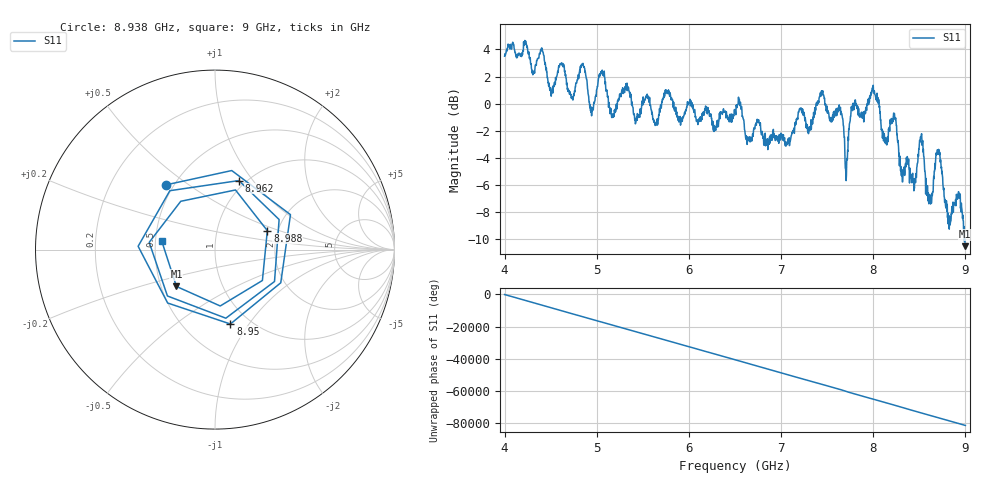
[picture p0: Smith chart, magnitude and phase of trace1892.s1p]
! Created with skrf 1.8.0 (http://scikit-rf.org).
# Hz S RI R 50.0
!freq ReS11 ImS11
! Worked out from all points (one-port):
!   1601 points, 4 GHz to 9 GHz, reference 50 ohm
!   lowest |S11| = -10.5 dB at 8.997 GHz (marker M1), VSWR 1.85, Z = 30 - j13.5 ohm
!   |S11| at or under -10 dB: 8.987375 GHz to end of sweep
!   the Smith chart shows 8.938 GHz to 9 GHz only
!   S11 on the Smith chart (normalised r, x): 8.938 GHz: 0.45, +0.41; 8.95 GHz: 0.81, -0.82; 8.962 GHz: 0.93, +0.85; 8.988 GHz: 1.76, +0.41; 9 GHz: 0.54, +0.06
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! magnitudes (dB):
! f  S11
! 4 GHz  3.5
! 4.512 GHz  0.8
! 4.625 GHz  2.9
! 4.728 GHz  0.5
! 4.853 GHz  2.8
! 4.941 GHz  -0.3
! 5.056 GHz  2.4
! 5.162 GHz  -1.0
! 5.25 GHz  0.7
! 5.875 GHz  -0.9
! 6.5 GHz  -0.7
! 7.125 GHz  -2.1
! 7.447 GHz  0.8
! 7.644 GHz  -0.3
! 7.706 GHz  -5.7
! 7.75 GHz  -1.3
! 8.003 GHz  0.8
! 8.375 GHz  -4.4
! 8.519 GHz  -2.5
! 8.619 GHz  -6.9
! 8.706 GHz  -3.7
! 8.822 GHz  -8.8
! 8.938 GHz  -6.9
! 8.95 GHz  -7.5
! 8.962 GHz  -7.8
! 8.988 GHz  -10.2
! 8.997 GHz  -10.5
! 9 GHz  -10.4
